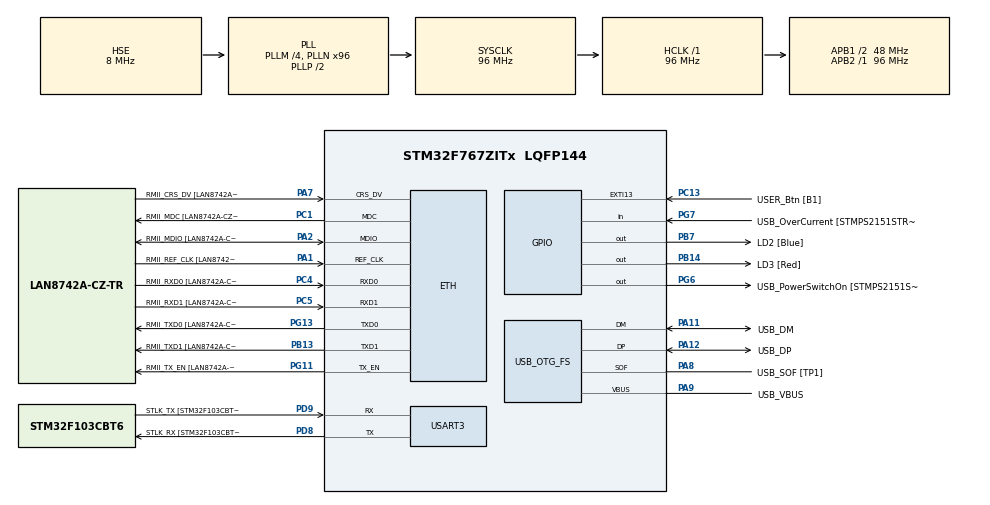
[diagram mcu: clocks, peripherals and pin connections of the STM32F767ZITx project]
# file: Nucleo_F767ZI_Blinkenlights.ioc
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ETH.MediaInterface=ETH_MEDIA_INTERFACE_RMII
ETH.PHY_Name=LAN8742A_PHY_ADDRESS
ETH.PHY_Value=0
ETH.PhyAddress=0
Mcu.Family=STM32F7
Mcu.Name=STM32F767ZITx
Mcu.Package=LQFP144
NVIC.PriorityGroup=NVIC_PRIORITYGROUP_4
PA1.GPIO_Label=RMII_REF_CLK [LAN8742A-CZ-TR_REFCLK0]
PA1.Mode=RMII
PA1.Signal=ETH_REF_CLK
PA10.GPIO_Label=USB_ID
PA10.Signal=USB_OTG_FS_ID
PA11.GPIO_Label=USB_DM
PA11.Mode=Device_Only
PA11.Signal=USB_OTG_FS_DM
PA12.GPIO_Label=USB_DP
PA12.Mode=Device_Only
PA12.Signal=USB_OTG_FS_DP
PA13.GPIO_Label=TMS
PA13.Mode=Serial_Wire
PA13.Signal=SYS_JTMS-SWDIO
PA14.GPIO_Label=TCK
PA14.Mode=Serial_Wire
PA14.Signal=SYS_JTCK-SWCLK
PA2.GPIO_Label=RMII_MDIO [LAN8742A-CZ-TR_MDIO]
PA2.Mode=RMII
PA2.Signal=ETH_MDIO
PA7.GPIO_Label=RMII_CRS_DV [LAN8742A-CZ-TR_CRS_DV]
PA7.Mode=RMII
PA7.Signal=ETH_CRS_DV
PA8.GPIO_Label=USB_SOF [TP1]
PA8.Mode=Activate_SOF_FS
PA8.Signal=USB_OTG_FS_SOF
PA9.GPIO_Label=USB_VBUS
PA9.Mode=Activate_VBUS
PA9.Signal=USB_OTG_FS_VBUS
PB13.GPIO_Label=RMII_TXD1 [LAN8742A-CZ-TR_TXD1]
PB13.Mode=RMII
PB13.Signal=ETH_TXD1
PB14.GPIO_Label=LD3 [Red]
PB14.Signal=GPIO_Output
PB3.GPIO_Label=SWO
PB3.Signal=SYS_JTDO-SWO
PB7.GPIO_Label=LD2 [Blue]
PB7.Signal=GPIO_Output
PC1.GPIO_Label=RMII_MDC [LAN8742A-CZ-TR_MDC]
PC1.Mode=RMII
PC1.Signal=ETH_MDC
PC13.GPIO_Label=USER_Btn [B1]
PC13.Signal=GPXTI13
PC14/OSC32_IN.Mode=LSE-External-Oscillator
PC14/OSC32_IN.Signal=RCC_OSC32_IN
PC15/OSC32_OUT.Mode=LSE-External-Oscillator
PC15/OSC32_OUT.Signal=RCC_OSC32_OUT
PC4.GPIO_Label=RMII_RXD0 [LAN8742A-CZ-TR_RXD0]
PC4.Mode=RMII
PC4.Signal=ETH_RXD0
PC5.GPIO_Label=RMII_RXD1 [LAN8742A-CZ-TR_RXD1]
PC5.Mode=RMII
PC5.Signal=ETH_RXD1
PD8.GPIO_Label=STLK_RX [STM32F103CBT6_PA3]
PD8.Mode=Asynchronous
PD8.Signal=USART3_TX
PD9.GPIO_Label=STLK_TX [STM32F103CBT6_PA2]
PD9.Mode=Asynchronous
PD9.Signal=USART3_RX
PG11.GPIO_Label=RMII_TX_EN [LAN8742A-CZ-TR_TXEN]
PG11.Mode=RMII
PG11.Signal=ETH_TX_EN
PG13.GPIO_Label=RMII_TXD0 [LAN8742A-CZ-TR_TXD0]
PG13.Mode=RMII
PG13.Signal=ETH_TXD0
PG6.GPIO_Label=USB_PowerSwitchOn [STMPS2151STR_EN]
PG6.Signal=GPIO_Output
PG7.GPIO_Label=USB_OverCurrent [STMPS2151STR_FAULT]
PG7.Signal=GPIO_Input
PH0/OSC_IN.GPIO_Label=MCO [STM32F103CBT6_PA8]
PH0/OSC_IN.Mode=HSE-External-Clock-Source
PH0/OSC_IN.Signal=RCC_OSC_IN
PH1/OSC_OUT.Mode=HSE-External-Clock-Source
PH1/OSC_OUT.Signal=RCC_OSC_OUT
ProjectManager.HeapSize=0x200
ProjectManager.StackSize=0x400
ProjectManager.TargetToolchain=STM32CubeIDE
RCC.48MHZClocksFreq_Value=24000000
RCC.AHBFreq_Value=96000000
RCC.APB1CLKDivider=RCC_HCLK_DIV2
RCC.APB1Freq_Value=48000000
RCC.APB1TimFreq_Value=96000000
RCC.APB2Freq_Value=96000000
RCC.APB2TimFreq_Value=96000000
RCC.CortexFreq_Value=96000000
RCC.HCLKFreq_Value=96000000
RCC.HSE_VALUE=8000000
RCC.HSI_VALUE=16000000
RCC.PLLM=4
RCC.PLLMUL=RCC_PLL_MUL9
RCC.PLLN=96
RCC.PLLQ=4
RCC.PRESCALERUSB=RCC_USBCLKSOURCE_PLL_DIV1_5
RCC.SYSCLKFreq_VALUE=96000000
RCC.SYSCLKSource=RCC_SYSCLKSOURCE_PLLCLK
RCC.SYSCLKSourceVirtual=RCC_SYSCLKSOURCE_PLLCLK
RCC.USBFreq_Value=48000000
RCC.VCOOutputFreq_Value=192000000
USART3.VirtualMode-Asynchronous=VM_ASYNC
USB_OTG_FS.VirtualMode=Device_Only
board=NUCLEO-F767ZI

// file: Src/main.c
/* USER CODE BEGIN Header */
/**
  ******************************************************************************
  * @file           : main.c
  * @brief          : Main program body
  ******************************************************************************
  * @attention
  *
  * <h2><center>&copy; Copyright (c) 2019 STMicroelectronics.
  * All rights reserved.</center></h2>
  *
  * This software component is licensed by ST under BSD 3-Clause license,
  * the "License"; You may not use this file except in compliance with the
  * License. You may obtain a copy of the License at:
  *                        opensource.org/licenses/BSD-3-Clause
  *
  ******************************************************************************
  */
/* USER CODE END Header */

#include "main.h"

ETH_HandleTypeDef heth;

UART_HandleTypeDef huart3;

PCD_HandleTypeDef hpcd_USB_OTG_FS;

void SystemClock_Config(void);
static void MX_GPIO_Init(void);
static void MX_ETH_Init(void);
static void MX_USART3_UART_Init(void);
static void MX_USB_OTG_FS_PCD_Init(void);
/* USER CODE BEGIN PFP */

static void LED2_Blink(void);

/* USER CODE END PFP */

/* USER CODE BEGIN 0 */

uint8_t BlinkSpeed = 0;

/* USER CODE END 0 */

int main(void)
{

  /* MCU Configuration--------------------------------------------------------*/

  /* Reset of all peripherals, Initializes the Flash interface and the Systick. */
  HAL_Init();

  /* Configure the system clock */
  SystemClock_Config();

  /* Initialize all configured peripherals */
  MX_GPIO_Init();
  MX_ETH_Init();
  MX_USART3_UART_Init();
  MX_USB_OTG_FS_PCD_Init();

  /* Infinite loop */
  while (1)
  {
	LED2_Blink();
  }
}

void SystemClock_Config(void)
{
  RCC_OscInitTypeDef RCC_OscInitStruct = {0};
  RCC_ClkInitTypeDef RCC_ClkInitStruct = {0};
  RCC_PeriphCLKInitTypeDef PeriphClkInitStruct = {0};

  /** Configure LSE Drive Capability
  */
  HAL_PWR_EnableBkUpAccess();
  /** Configure the main internal regulator output voltage
  */
  __HAL_RCC_PWR_CLK_ENABLE();
  __HAL_PWR_VOLTAGESCALING_CONFIG(PWR_REGULATOR_VOLTAGE_SCALE3);
  /** Initializes the CPU, AHB and APB busses clocks
  */
  RCC_OscInitStruct.OscillatorType = RCC_OSCILLATORTYPE_HSE;
  RCC_OscInitStruct.HSEState = RCC_HSE_BYPASS;
  RCC_OscInitStruct.PLL.PLLState = RCC_PLL_ON;
  RCC_OscInitStruct.PLL.PLLSource = RCC_PLLSOURCE_HSE;
  RCC_OscInitStruct.PLL.PLLM = 4;
  RCC_OscInitStruct.PLL.PLLN = 96;
  RCC_OscInitStruct.PLL.PLLP = RCC_PLLP_DIV2;
  RCC_OscInitStruct.PLL.PLLQ = 4;
  if (HAL_RCC_OscConfig(&RCC_OscInitStruct) != HAL_OK)
  {
    Error_Handler();
  }
  /** Activate the Over-Drive mode
  */
  if (HAL_PWREx_EnableOverDrive() != HAL_OK)
  {
    Error_Handler();
  }
  /** Initializes the CPU, AHB and APB busses clocks
  */
  RCC_ClkInitStruct.ClockType = RCC_CLOCKTYPE_HCLK|RCC_CLOCKTYPE_SYSCLK
                              |RCC_CLOCKTYPE_PCLK1|RCC_CLOCKTYPE_PCLK2;
  RCC_ClkInitStruct.SYSCLKSource = RCC_SYSCLKSOURCE_PLLCLK;
  RCC_ClkInitStruct.AHBCLKDivider = RCC_SYSCLK_DIV1;
  RCC_ClkInitStruct.APB1CLKDivider = RCC_HCLK_DIV2;
  RCC_ClkInitStruct.APB2CLKDivider = RCC_HCLK_DIV1;

  if (HAL_RCC_ClockConfig(&RCC_ClkInitStruct, FLASH_LATENCY_3) != HAL_OK)
  {
    Error_Handler();
  }
  PeriphClkInitStruct.PeriphClockSelection = RCC_PERIPHCLK_USART3|RCC_PERIPHCLK_CLK48;
  PeriphClkInitStruct.Usart3ClockSelection = RCC_USART3CLKSOURCE_PCLK1;
  PeriphClkInitStruct.Clk48ClockSelection = RCC_CLK48SOURCE_PLL;
  if (HAL_RCCEx_PeriphCLKConfig(&PeriphClkInitStruct) != HAL_OK)
  {
    Error_Handler();
  }
}

static void MX_ETH_Init(void)
{

   uint8_t MACAddr[6] ;

  heth.Instance = ETH;
  heth.Init.AutoNegotiation = ETH_AUTONEGOTIATION_ENABLE;
  heth.Init.PhyAddress = LAN8742A_PHY_ADDRESS;
  MACAddr[0] = 0x00;
  MACAddr[1] = 0x80;
  MACAddr[2] = 0xE1;
  MACAddr[3] = 0x00;
  MACAddr[4] = 0x00;
  MACAddr[5] = 0x00;
  heth.Init.MACAddr = &MACAddr[0];
  heth.Init.RxMode = ETH_RXPOLLING_MODE;
  heth.Init.ChecksumMode = ETH_CHECKSUM_BY_HARDWARE;
  heth.Init.MediaInterface = ETH_MEDIA_INTERFACE_RMII;

  if (HAL_ETH_Init(&heth) != HAL_OK)
  {
    Error_Handler();
  }

}

static void MX_USART3_UART_Init(void)
{

  huart3.Instance = USART3;
  huart3.Init.BaudRate = 115200;
  huart3.Init.WordLength = UART_WORDLENGTH_8B;
  huart3.Init.StopBits = UART_STOPBITS_1;
  huart3.Init.Parity = UART_PARITY_NONE;
  huart3.Init.Mode = UART_MODE_TX_RX;
  huart3.Init.HwFlowCtl = UART_HWCONTROL_NONE;
  huart3.Init.OverSampling = UART_OVERSAMPLING_16;
  huart3.Init.OneBitSampling = UART_ONE_BIT_SAMPLE_DISABLE;
  huart3.AdvancedInit.AdvFeatureInit = UART_ADVFEATURE_NO_INIT;
  if (HAL_UART_Init(&huart3) != HAL_OK)
  {
    Error_Handler();
  }

}

static void MX_USB_OTG_FS_PCD_Init(void)
{

  hpcd_USB_OTG_FS.Instance = USB_OTG_FS;
  hpcd_USB_OTG_FS.Init.dev_endpoints = 6;
  hpcd_USB_OTG_FS.Init.speed = PCD_SPEED_FULL;
  hpcd_USB_OTG_FS.Init.dma_enable = DISABLE;
  hpcd_USB_OTG_FS.Init.phy_itface = PCD_PHY_EMBEDDED;
  hpcd_USB_OTG_FS.Init.Sof_enable = ENABLE;
  hpcd_USB_OTG_FS.Init.low_power_enable = DISABLE;
  hpcd_USB_OTG_FS.Init.lpm_enable = DISABLE;
  hpcd_USB_OTG_FS.Init.vbus_sensing_enable = ENABLE;
  hpcd_USB_OTG_FS.Init.use_dedicated_ep1 = DISABLE;
  if (HAL_PCD_Init(&hpcd_USB_OTG_FS) != HAL_OK)
  {
    Error_Handler();
  }

}

static void MX_GPIO_Init(void)
{
  GPIO_InitTypeDef GPIO_InitStruct = {0};

  /* GPIO Ports Clock Enable */
  __HAL_RCC_GPIOC_CLK_ENABLE();
  __HAL_RCC_GPIOH_CLK_ENABLE();
  __HAL_RCC_GPIOA_CLK_ENABLE();
  __HAL_RCC_GPIOB_CLK_ENABLE();
  __HAL_RCC_GPIOD_CLK_ENABLE();
  __HAL_RCC_GPIOG_CLK_ENABLE();

  /*Configure GPIO pin Output Level */
  HAL_GPIO_WritePin(GPIOB, LD3_Pin|LD2_Pin, GPIO_PIN_RESET);

  /*Configure GPIO pin Output Level */
  HAL_GPIO_WritePin(USB_PowerSwitchOn_GPIO_Port, USB_PowerSwitchOn_Pin, GPIO_PIN_RESET);

  /*Configure GPIO pin : USER_Btn_Pin */
  GPIO_InitStruct.Pin = USER_Btn_Pin;
  GPIO_InitStruct.Mode = GPIO_MODE_IT_RISING;
  GPIO_InitStruct.Pull = GPIO_NOPULL;
  HAL_GPIO_Init(USER_Btn_GPIO_Port, &GPIO_InitStruct);

  /*Configure GPIO pins : LD3_Pin LD2_Pin */
  GPIO_InitStruct.Pin = LD3_Pin|LD2_Pin;
  GPIO_InitStruct.Mode = GPIO_MODE_OUTPUT_PP;
  GPIO_InitStruct.Pull = GPIO_NOPULL;
  GPIO_InitStruct.Speed = GPIO_SPEED_FREQ_LOW;
  HAL_GPIO_Init(GPIOB, &GPIO_InitStruct);

  /*Configure GPIO pin : USB_PowerSwitchOn_Pin */
  GPIO_InitStruct.Pin = USB_PowerSwitchOn_Pin;
  GPIO_InitStruct.Mode = GPIO_MODE_OUTPUT_PP;
  GPIO_InitStruct.Pull = GPIO_NOPULL;
  GPIO_InitStruct.Speed = GPIO_SPEED_FREQ_LOW;
  HAL_GPIO_Init(USB_PowerSwitchOn_GPIO_Port, &GPIO_InitStruct);

  /*Configure GPIO pin : USB_OverCurrent_Pin */
  GPIO_InitStruct.Pin = USB_OverCurrent_Pin;
  GPIO_InitStruct.Mode = GPIO_MODE_INPUT;
  GPIO_InitStruct.Pull = GPIO_NOPULL;
  HAL_GPIO_Init(USB_OverCurrent_GPIO_Port, &GPIO_InitStruct);

}

/* USER CODE BEGIN 4 */

/**
  * @brief  Blinks LED2 with two frequencies depending on User press button.
  * @param  None
  * @retval None
  */
static void LED2_Blink(void)
{
  /* Configure LED2 on Nucleo */
  BSP_LED_Init(LED2);

  /* Configure the User Button in EXTI Mode */
  BSP_PB_Init(BUTTON_USER, BUTTON_MODE_EXTI);

  /* Initiate BlinkSpeed variable */
  BlinkSpeed = 0;

  /* Infinite loop */
  while(1)
  {
    /* Test on blink speed */
    if(BlinkSpeed == 0)
    {
      BSP_LED_Toggle(LED2);
      /* Wait for 500ms */
      HAL_Delay(500);
    }
    else if(BlinkSpeed == 1)
    {
      BSP_LED_Toggle(LED2);
      /* Wait for 100ms */
      HAL_Delay(100);
    }
    else if(BlinkSpeed == 2)
    {
      BSP_LED_Toggle(LED2);
      /* Wait for 50ms */
      HAL_Delay(50);
    }
  }
}

/**
  * @brief  EXTI line detection callbacks.
  * @param  GPIO_Pin: Specifies the pins connected EXTI line
  * @retval None
  */
void HAL_GPIO_EXTI_Callback(uint16_t GPIO_Pin)
{
  if(BlinkSpeed == 2)
  {
    BlinkSpeed = 0;
  }
  else
  {
    BlinkSpeed ++;
  }
}

/* USER CODE END 4 */

void Error_Handler(void)
{
}

/************************ (C) COPYRIGHT STMicroelectronics *****END OF FILE****/
